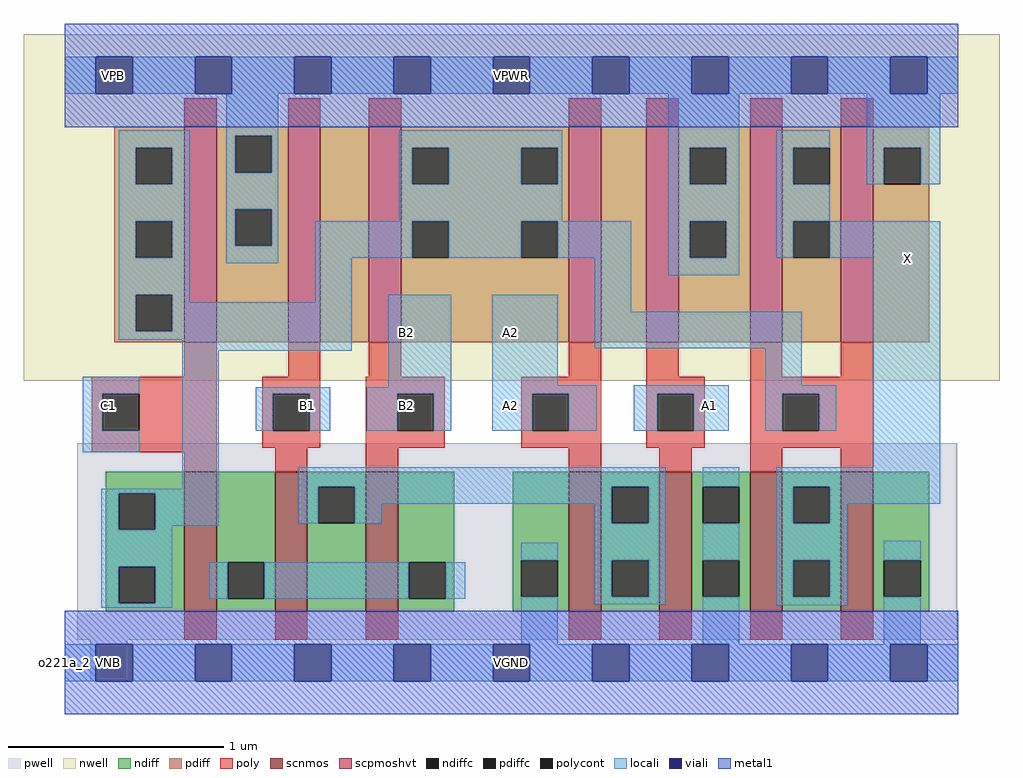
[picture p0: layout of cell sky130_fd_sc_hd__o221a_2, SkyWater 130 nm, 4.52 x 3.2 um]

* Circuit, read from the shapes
.subckt sky130_fd_sc_hd__o221a_2 A1 A2 B1 B2 C1 VGND VNB VPB VPWR X
XM1 n1 C1 n2 VNB sky130_fd_pr__nfet_01v8 w=0.65 l=0.15
XM2 n3 B1 n1 VNB sky130_fd_pr__nfet_01v8 w=0.65 l=0.15
XM3 n1 B2 n3 VNB sky130_fd_pr__nfet_01v8 w=0.65 l=0.15
XM4 n3 A2 VGND VNB sky130_fd_pr__nfet_01v8 w=0.65 l=0.15
XM5 VGND A1 n3 VNB sky130_fd_pr__nfet_01v8 w=0.65 l=0.15
XM6 X n2 VGND VNB sky130_fd_pr__nfet_01v8 w=0.65 l=0.15 m=2
XM7 VPWR C1 n2 VPB sky130_fd_pr__pfet_01v8_hvt w=1 l=0.15
XM8 n4 B1 VPWR VPB sky130_fd_pr__pfet_01v8_hvt w=1 l=0.15
XM9 n2 B2 n4 VPB sky130_fd_pr__pfet_01v8_hvt w=1 l=0.15
XM10 n5 A2 n2 VPB sky130_fd_pr__pfet_01v8_hvt w=1 l=0.15
XM11 VPWR A1 n5 VPB sky130_fd_pr__pfet_01v8_hvt w=1 l=0.15
XM12 X n2 VPWR VPB sky130_fd_pr__pfet_01v8_hvt w=1 l=0.15 m=2
.ends

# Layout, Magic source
magic
tech sky130A
magscale 1 2
<< nwell >>
rect -38 261 866 582
<< pwell >>
rect 12 21 827 203
rect 24 -17 58 21
<< scnmos >>
rect 111 47 141 177
rect 195 47 225 177
rect 279 47 309 177
rect 467 47 497 177
rect 551 47 581 177
rect 635 47 665 177
rect 719 47 749 177
<< scpmoshvt >>
rect 111 297 141 497
rect 207 297 237 497
rect 282 297 312 497
rect 467 297 497 497
rect 539 297 569 497
rect 635 297 665 497
rect 719 297 749 497
<< ndiff >>
rect 38 157 111 177
rect 38 123 50 157
rect 84 123 111 157
rect 38 89 111 123
rect 38 55 50 89
rect 84 55 111 89
rect 38 47 111 55
rect 141 93 195 177
rect 141 59 151 93
rect 185 59 195 93
rect 141 47 195 59
rect 225 163 279 177
rect 225 129 235 163
rect 269 129 279 163
rect 225 47 279 129
rect 309 93 361 177
rect 309 59 319 93
rect 353 59 361 93
rect 309 47 361 59
rect 415 95 467 177
rect 415 61 423 95
rect 457 61 467 95
rect 415 47 467 61
rect 497 163 551 177
rect 497 129 507 163
rect 541 129 551 163
rect 497 95 551 129
rect 497 61 507 95
rect 541 61 551 95
rect 497 47 551 61
rect 581 163 635 177
rect 581 129 591 163
rect 625 129 635 163
rect 581 95 635 129
rect 581 61 591 95
rect 625 61 635 95
rect 581 47 635 61
rect 665 163 719 177
rect 665 129 675 163
rect 709 129 719 163
rect 665 95 719 129
rect 665 61 675 95
rect 709 61 719 95
rect 665 47 719 61
rect 749 95 801 177
rect 749 61 759 95
rect 793 61 801 95
rect 749 47 801 61
<< pdiff >>
rect 46 477 111 497
rect 46 443 66 477
rect 100 443 111 477
rect 46 409 111 443
rect 46 375 66 409
rect 100 375 111 409
rect 46 341 111 375
rect 46 307 66 341
rect 100 307 111 341
rect 46 297 111 307
rect 141 488 207 497
rect 141 454 158 488
rect 192 454 207 488
rect 141 420 207 454
rect 141 386 158 420
rect 192 386 207 420
rect 141 297 207 386
rect 237 297 282 497
rect 312 477 467 497
rect 312 443 322 477
rect 356 443 423 477
rect 457 443 467 477
rect 312 409 467 443
rect 312 375 322 409
rect 356 375 423 409
rect 457 375 467 409
rect 312 297 467 375
rect 497 297 539 497
rect 569 477 635 497
rect 569 443 579 477
rect 613 443 635 477
rect 569 409 635 443
rect 569 375 579 409
rect 613 375 635 409
rect 569 297 635 375
rect 665 477 719 497
rect 665 443 675 477
rect 709 443 719 477
rect 665 409 719 443
rect 665 375 675 409
rect 709 375 719 409
rect 665 297 719 375
rect 749 477 801 497
rect 749 443 759 477
rect 793 443 801 477
rect 749 297 801 443
<< ndiffc >>
rect 50 123 84 157
rect 50 55 84 89
rect 151 59 185 93
rect 235 129 269 163
rect 319 59 353 93
rect 423 61 457 95
rect 507 129 541 163
rect 507 61 541 95
rect 591 129 625 163
rect 591 61 625 95
rect 675 129 709 163
rect 675 61 709 95
rect 759 61 793 95
<< pdiffc >>
rect 66 443 100 477
rect 66 375 100 409
rect 66 307 100 341
rect 158 454 192 488
rect 158 386 192 420
rect 322 443 356 477
rect 423 443 457 477
rect 322 375 356 409
rect 423 375 457 409
rect 579 443 613 477
rect 579 375 613 409
rect 675 443 709 477
rect 675 375 709 409
rect 759 443 793 477
<< poly >>
rect 111 497 141 523
rect 207 497 237 523
rect 282 497 312 523
rect 467 497 497 523
rect 539 497 569 523
rect 635 497 665 523
rect 719 497 749 523
rect 111 265 141 297
rect 207 265 237 297
rect 282 265 312 297
rect 467 265 497 297
rect 25 249 141 265
rect 25 215 35 249
rect 69 215 141 249
rect 25 195 141 215
rect 183 249 237 265
rect 183 215 193 249
rect 227 215 237 249
rect 183 199 237 215
rect 279 249 352 265
rect 279 215 308 249
rect 342 215 352 249
rect 279 199 352 215
rect 423 249 497 265
rect 423 215 433 249
rect 467 215 497 249
rect 423 199 497 215
rect 539 265 569 297
rect 635 265 665 297
rect 719 265 749 297
rect 539 249 593 265
rect 539 215 549 249
rect 583 215 593 249
rect 539 199 593 215
rect 635 249 749 265
rect 635 215 665 249
rect 699 215 749 249
rect 635 199 749 215
rect 111 177 141 195
rect 195 177 225 199
rect 279 177 309 199
rect 467 177 497 199
rect 551 177 581 199
rect 635 177 665 199
rect 719 177 749 199
rect 111 21 141 47
rect 195 21 225 47
rect 279 21 309 47
rect 467 21 497 47
rect 551 21 581 47
rect 635 21 665 47
rect 719 21 749 47
<< polycont >>
rect 35 215 69 249
rect 193 215 227 249
rect 308 215 342 249
rect 433 215 467 249
rect 549 215 583 249
rect 665 215 699 249
<< locali >>
rect 0 527 29 561
rect 63 527 121 561
rect 155 527 213 561
rect 247 527 305 561
rect 339 527 397 561
rect 431 527 489 561
rect 523 527 581 561
rect 615 527 673 561
rect 707 527 765 561
rect 799 527 828 561
rect 50 477 116 493
rect 50 443 66 477
rect 100 443 116 477
rect 50 409 116 443
rect 50 375 66 409
rect 100 375 116 409
rect 50 341 116 375
rect 150 488 198 527
rect 150 454 158 488
rect 192 454 198 488
rect 150 420 198 454
rect 150 386 158 420
rect 192 386 198 420
rect 310 477 461 493
rect 310 443 322 477
rect 356 443 423 477
rect 457 443 461 477
rect 310 409 461 443
rect 559 477 625 527
rect 559 443 579 477
rect 613 443 625 477
rect 559 409 625 443
rect 150 370 198 386
rect 232 375 322 409
rect 356 375 423 409
rect 457 375 525 409
rect 50 307 66 341
rect 100 334 116 341
rect 232 334 266 375
rect 100 307 266 334
rect 50 299 266 307
rect 109 289 266 299
rect 17 249 69 265
rect 17 215 35 249
rect 17 195 69 215
rect 109 161 143 289
rect 300 255 358 341
rect 177 249 246 255
rect 177 215 193 249
rect 227 215 246 249
rect 280 249 358 255
rect 280 215 308 249
rect 342 215 358 249
rect 396 257 457 341
rect 491 325 525 375
rect 559 375 579 409
rect 613 375 625 409
rect 659 477 709 493
rect 659 443 675 477
rect 743 477 811 527
rect 743 443 759 477
rect 793 443 811 477
rect 659 409 709 443
rect 659 375 675 409
rect 709 375 811 409
rect 559 359 625 375
rect 491 291 683 325
rect 649 257 683 291
rect 396 249 493 257
rect 396 215 433 249
rect 467 215 493 249
rect 527 249 615 257
rect 527 215 549 249
rect 583 215 615 249
rect 649 249 715 257
rect 649 215 665 249
rect 699 215 715 249
rect 749 181 811 375
rect 34 157 143 161
rect 34 123 50 157
rect 84 127 143 157
rect 217 163 557 181
rect 217 129 235 163
rect 269 147 507 163
rect 269 129 294 147
rect 491 129 507 147
rect 541 129 557 163
rect 84 123 100 127
rect 34 89 100 123
rect 423 95 457 111
rect 34 55 50 89
rect 84 55 100 89
rect 134 59 151 93
rect 185 59 319 93
rect 353 59 371 93
rect 34 51 100 55
rect 423 17 457 61
rect 491 95 557 129
rect 491 61 507 95
rect 541 61 557 95
rect 491 54 557 61
rect 591 163 625 181
rect 591 95 625 129
rect 591 17 625 61
rect 659 163 811 181
rect 659 129 675 163
rect 709 147 811 163
rect 709 129 725 147
rect 659 95 725 129
rect 659 61 675 95
rect 709 61 725 95
rect 659 53 725 61
rect 759 95 793 113
rect 759 17 793 61
rect 0 -17 29 17
rect 63 -17 121 17
rect 155 -17 213 17
rect 247 -17 305 17
rect 339 -17 397 17
rect 431 -17 489 17
rect 523 -17 581 17
rect 615 -17 673 17
rect 707 -17 765 17
rect 799 -17 828 17
<< viali >>
rect 29 527 63 561
rect 121 527 155 561
rect 213 527 247 561
rect 305 527 339 561
rect 397 527 431 561
rect 489 527 523 561
rect 581 527 615 561
rect 673 527 707 561
rect 765 527 799 561
rect 29 -17 63 17
rect 121 -17 155 17
rect 213 -17 247 17
rect 305 -17 339 17
rect 397 -17 431 17
rect 489 -17 523 17
rect 581 -17 615 17
rect 673 -17 707 17
rect 765 -17 799 17
<< metal1 >>
rect 0 561 828 592
rect 0 527 29 561
rect 63 527 121 561
rect 155 527 213 561
rect 247 527 305 561
rect 339 527 397 561
rect 431 527 489 561
rect 523 527 581 561
rect 615 527 673 561
rect 707 527 765 561
rect 799 527 828 561
rect 0 496 828 527
rect 0 17 828 48
rect 0 -17 29 17
rect 63 -17 121 17
rect 155 -17 213 17
rect 247 -17 305 17
rect 339 -17 397 17
rect 431 -17 489 17
rect 523 -17 581 17
rect 615 -17 673 17
rect 707 -17 765 17
rect 799 -17 828 17
rect 0 -48 828 -17
<< labels >>
flabel locali s 300 289 334 323 0 FreeSans 400 0 0 0 B2
port 4 nsew signal input
flabel locali s 396 289 430 323 0 FreeSans 400 0 0 0 A2
port 2 nsew signal input
flabel locali s 396 221 430 255 0 FreeSans 400 0 0 0 A2
port 2 nsew signal input
flabel locali s 764 357 798 391 0 FreeSans 400 0 0 0 X
port 10 nsew signal output
flabel locali s 208 221 242 255 0 FreeSans 400 0 0 0 B1
port 3 nsew signal input
flabel locali s 24 221 58 255 0 FreeSans 400 0 0 0 C1
port 5 nsew signal input
flabel locali s 580 221 614 255 0 FreeSans 400 0 0 0 A1
port 1 nsew signal input
flabel locali s 300 221 334 255 0 FreeSans 400 0 0 0 B2
port 4 nsew signal input
flabel nwell s 28 527 62 561 0 FreeSans 200 0 0 0 VPB
port 8 nsew power bidirectional
flabel pwell s 24 -17 58 17 0 FreeSans 200 0 0 0 VNB
port 7 nsew ground bidirectional
flabel metal1 s 24 -17 58 17 0 FreeSans 200 0 0 0 VGND
port 6 nsew ground bidirectional abutment
flabel metal1 s 28 527 62 561 0 FreeSans 200 0 0 0 VPWR
port 9 nsew power bidirectional abutment
rlabel comment s 0 0 0 0 4 o221a_2
rlabel metal1 s 0 -48 828 48 1 VGND
port 6 nsew ground bidirectional abutment
rlabel metal1 s 0 496 828 592 1 VPWR
port 9 nsew power bidirectional abutment
<< properties >>
string FIXED_BBOX 0 0 828 544
string GDS_END 808694
string GDS_FILE $PDKPATH/libs.ref/sky130_fd_sc_hd/gds/sky130_fd_sc_hd.gds
string GDS_START 801224
string LEFclass CORE
string LEFsite unithd
string LEFsymmetry X Y R90
string path 0.000 0.000 4.140 0.000 
<< end >>
